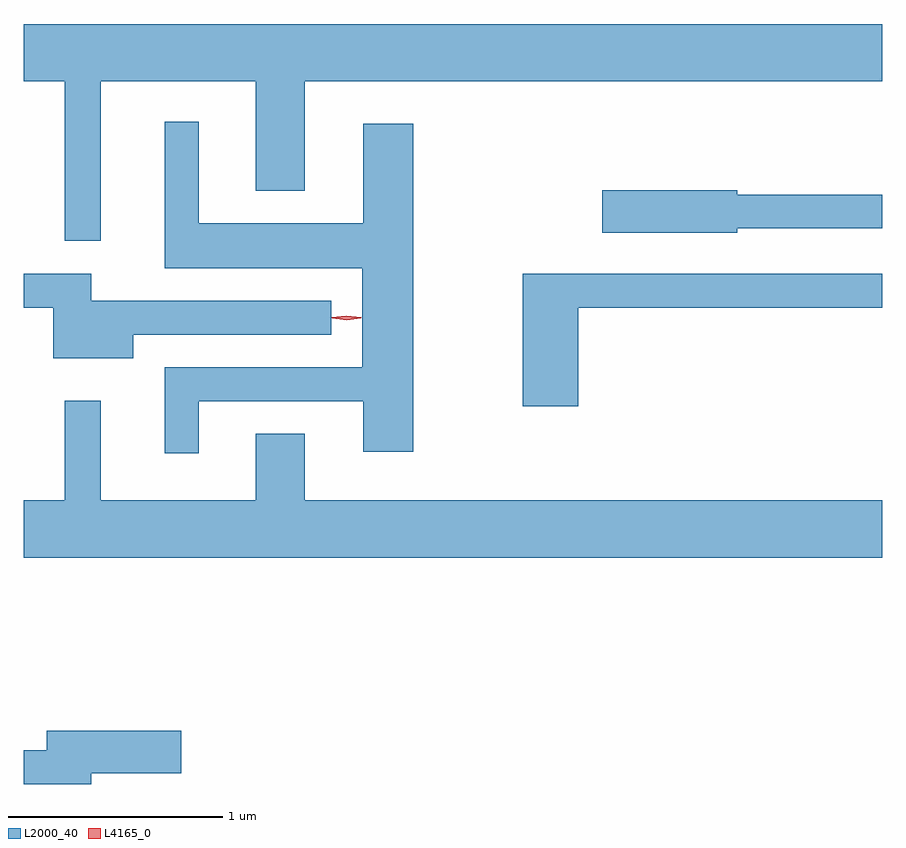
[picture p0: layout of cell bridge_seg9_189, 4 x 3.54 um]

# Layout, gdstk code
import gdstk
lib = gdstk.Library(unit=1e-6, precision=1e-09)
def P(c, l, *ps):  # polygons
    for p in ps: c.add(gdstk.Polygon(p, *l))
L2000_40 = (2000, 40)
L4165_0 = (4165, 0)

bridge_seg9_189 = lib.new_cell('bridge_seg9_189')
P(bridge_seg9_189, L2000_40, [(1270.019,1980.716),(1270.741,1980.716),(1270.741,1980.206),(1270.969,1980.206),(1270.969,1980.716),(1273.66,1980.716),(1273.66,1980.984),(1269.66,1980.984),(1269.66,1980.716),(1269.851,1980.716),(1269.851,1979.973),(1270.019,1979.973)],
  [(1270.474,1979.226),(1271.241,1979.226),(1271.241,1978.991),(1271.474,1978.991),(1271.474,1980.519),(1271.241,1980.519),(1271.241,1980.054),(1270.474,1980.054),(1270.474,1980.528),(1270.316,1980.528),(1270.316,1979.846),(1271.236,1979.846),(1271.236,1979.384),(1270.316,1979.384),(1270.316,1978.983),(1270.474,1978.983)],
  [(1272.984,1980.031),(1273.66,1980.031),(1273.66,1980.189),(1272.984,1980.189),(1272.984,1980.209),(1272.356,1980.209),(1272.356,1980.011),(1272.984,1980.011)],
  [(1272.244,1979.661),(1273.66,1979.661),(1273.66,1979.819),(1271.986,1979.819),(1271.986,1979.201),(1272.244,1979.201)],
  [(1270.169,1979.536),(1271.093,1979.536),(1271.093,1979.694),(1269.974,1979.694),(1269.974,1979.819),(1269.66,1979.819),(1269.66,1979.661),(1269.796,1979.661),(1269.796,1979.426),(1270.169,1979.426)],
  [(1273.66,1978.764),(1270.969,1978.764),(1270.969,1979.074),(1270.741,1979.074),(1270.741,1978.764),(1270.019,1978.764),(1270.019,1979.228),(1269.851,1979.228),(1269.851,1978.764),(1269.66,1978.764),(1269.66,1978.496),(1273.66,1978.496)],
  [(1269.974,1977.491),(1270.394,1977.491),(1270.394,1977.689),(1269.766,1977.689),(1269.766,1977.599),(1269.66,1977.599),(1269.66,1977.441),(1269.974,1977.441)])
P(bridge_seg9_189, L4165_0, [(1271.164,1979.602),(1271.098,1979.612),(1271.097,1979.612),(1271.098,1979.613),(1271.164,1979.622),(1271.229,1979.613),(1271.23,1979.612),(1271.229,1979.612)],
  [(1271.163,1979.605),(1271.094,1979.614),(1271.094,1979.615),(1271.094,1979.616),(1271.163,1979.625),(1271.232,1979.616),(1271.232,1979.615),(1271.232,1979.614)])

lib.write_gds('bridge_seg9_189.gds')
